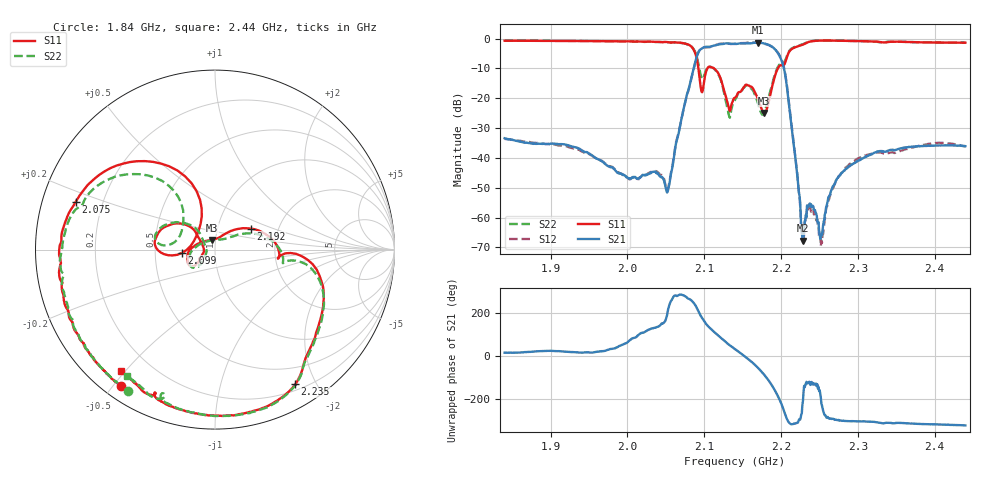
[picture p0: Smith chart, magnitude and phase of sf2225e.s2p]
! Network Analyzer HP8753E.07.72: Apr 03, 2002 Serial No. US38161084
! Hewlett-Packard
! 27 Jun 2006  14:49:53
! Frequency  S11  S21  S12  S22
# HZ  S  DB R  50
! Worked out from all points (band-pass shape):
!   801 points, 1.84 GHz to 2.44 GHz, reference 50 ohm
!   highest |S21| = -1.35 dB at 2.17 GHz (marker M1); lowest = -67.7 dB at 2.228 GHz (marker M2)
!   |S21| within 3 dB of the highest: 2.093 GHz to 2.194 GHz (101.7 MHz wide, 4.74 % of centre)
!   lowest |S11| = -24.9 dB at 2.178 GHz (marker M3), VSWR 1.12, Z = 48.1 + j5.24 ohm
!   |S11| at or under -10 dB: 2.092 GHz to 2.104 GHz (11.65 MHz wide, 0.555 % of centre); 2.113 GHz to 2.196 GHz (83.01 MHz wide, 3.85 % of centre)
!   |S22| runs from -26.5 to -0.6 dB; largest |S21 - S12| = 0.028
!   S11 on the Smith chart (normalised r, x): 1.84 GHz: 0.05, -0.53; 2.075 GHz: 0.10, +0.16; 2.099 GHz: 0.69, -0.03; 2.192 GHz: 1.44, +0.36; 2.235 GHz: 0.27, -1.73; 2.44 GHz: 0.10, -0.49
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1.84e9  -0.70 -124.4  -33.40 14.7  -33.58 17.9  -0.67 -121.5
1.9405e9  -0.81 -137.7  -37.40 15.4  -37.88 18.3  -0.79 -134.5
2.04025e9  -1.09 -165.4  -45.50 137.3  -44.99 139.9  -1.14 -161.1
2.053e9  -1.20 -173.3  -50.65 -140.2  -49.97 -139.8  -1.25 -169.2
2.0755e9  -1.72 161.2  -20.81 -81.4  -20.91 -83.3  -1.68 166.9
2.08975e9  -6.25 115.4  -6.40 -131.6  -6.41 -130.6  -5.65 129.7
2.0995e9  -14.70 -174.2  -2.88 164.4  -3.02 164.2  -12.76 169.9
2.11975e9  -12.40 142.8  -1.92 90.0  -1.76 91.3  -12.73 139.7
2.13175e9  -23.06 163.1  -1.65 53.2  -1.64 53.6  -25.33 164.3
2.14e9  -19.84 -149.6  -1.73 31.6  -1.77 32.7  -20.65 -138.2
2.1565e9  -15.63 -156.3  -1.57 -13.3  -1.33 -12.4  -15.91 -151.7
2.17e9  -20.36 158.9  -1.35 -56.5  -1.35 -57.3  -21.78 154.4
2.1775e9  -24.91 107.1  -1.58 -86.4  -1.70 -86.5  -24.95 78.7
2.19175e9  -12.77 30.5  -3.49 -160.8  -3.49 -159.1  -12.17 20.7
2.206e9  -7.52 -2.6  -13.17 78.8  -12.73 78.9  -6.91 -7.8
2.2285e9  -1.99 -50.9  -67.71 149.2  -68.39 160.4  -1.87 -51.9
2.23525e9  -1.18 -59.2  -56.38 -125.5  -56.97 -133.2  -1.09 -59.9
2.2405e9  -0.86 -66.6  -56.19 -132.5  -57.76 -127.1  -0.81 -66.6
2.2525e9  -0.67 -79.3  -66.02 135.8  -67.66 157.1  -0.63 -78.6
2.28175e9  -0.74 -97.2  -44.29 55.2  -43.98 61.6  -0.73 -95.6
2.34025e9  -1.12 -112.9  -37.46 46.5  -38.35 46.3  -1.03 -110.5
2.44e9  -1.38 -127.7  -36.07 33.8  -36.14 31.7  -1.35 -124.8
